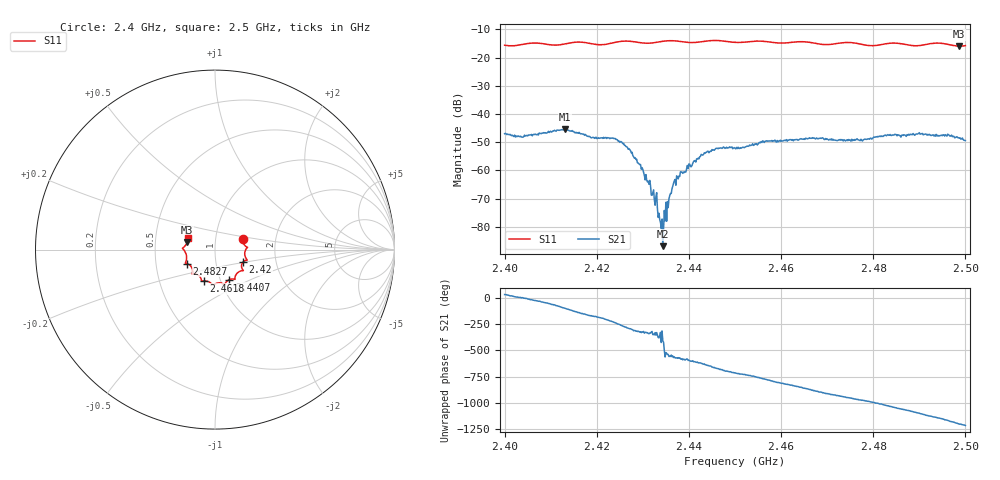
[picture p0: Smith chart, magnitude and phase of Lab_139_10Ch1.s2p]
# Hz S RI R 50
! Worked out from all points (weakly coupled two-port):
!   601 points, 2.4 GHz to 2.5 GHz, reference 50 ohm
!   highest |S21| = -45.42 dB at 2.4132 GHz (marker M1); lowest = -86.9 dB at 2.4343 GHz (marker M2)
!   lowest |S11| = -15.9 dB at 2.4987 GHz (marker M3), VSWR 1.38, Z = 36.5 + j3.23 ohm
!   |S11| at or under -10 dB: start of sweep to end of sweep
!   S12 and S22 are empty: the file has one direction only
!   S11 on the Smith chart (normalised r, x): 2.4 GHz: 1.35, +0.17; 2.42 GHz: 1.36, -0.19; 2.4407 GHz: 1.10, -0.38; 2.4618 GHz: 0.83, -0.30; 2.4827 GHz: 0.72, -0.12; 2.5 GHz: 0.73, +0.10
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2.4e9  0.1545 0.0613  0.00387 0.00228  0 0  0 0
2.403667e9  0.1693 0.0198  0.00391 -3.98e-05  0 0  0 0
2.413167e9  0.1702 -0.044  -0.00107 -0.00525  0 0  0 0
2.416667e9  0.1789 -0.0586  -0.0039 -0.00222  0 0  0 0
2.42e9  0.1564 -0.0689  -0.00368 0.00017  0 0  0 0
2.424e9  0.152 -0.1085  -0.00196 0.00313  0 0  0 0
2.427167e9  0.1564 -0.1171  0.000974 0.00212  0 0  0 0
2.431167e9  0.1227 -0.1323  0.000601 0.000237  0 0  0 0
2.433333e9  0.1117 -0.1529  0.00014 -4.53e-05  0 0  0 0
2.433833e9  0.1111 -0.1571  0.000102 6.16e-05  0 0  0 0
2.434333e9  0.1111 -0.1604  2.91e-05 -3.49e-05  0 0  0 0
2.437e9  0.1096 -0.1656  -0.000589 0.000365  0 0  0 0
2.440667e9  0.0792 -0.1676  -0.000529 0.0011  0 0  0 0
2.4455e9  0.053 -0.1947  0.00119 0.00194  0 0  0 0
2.45e9  0.0269 -0.1848  0.00246 0.000322  0 0  0 0
2.461833e9  -0.0615 -0.1749  -0.00107 -0.00335  0 0  0 0
2.466667e9  -0.0758 -0.1683  -0.00348 -0.00134  0 0  0 0
2.477333e9  -0.1241 -0.1208  -0.0011 0.0034  0 0  0 0
2.482667e9  -0.1579 -0.0779  0.00224 0.0036  0 0  0 0
2.483333e9  -0.162 -0.0769  0.00257 0.00332  0 0  0 0
2.498667e9  -0.154 0.0431  -0.0019 -0.00322  0 0  0 0
2.5e9  -0.1509 0.0632  -0.00234 -0.00245  0 0  0 0
